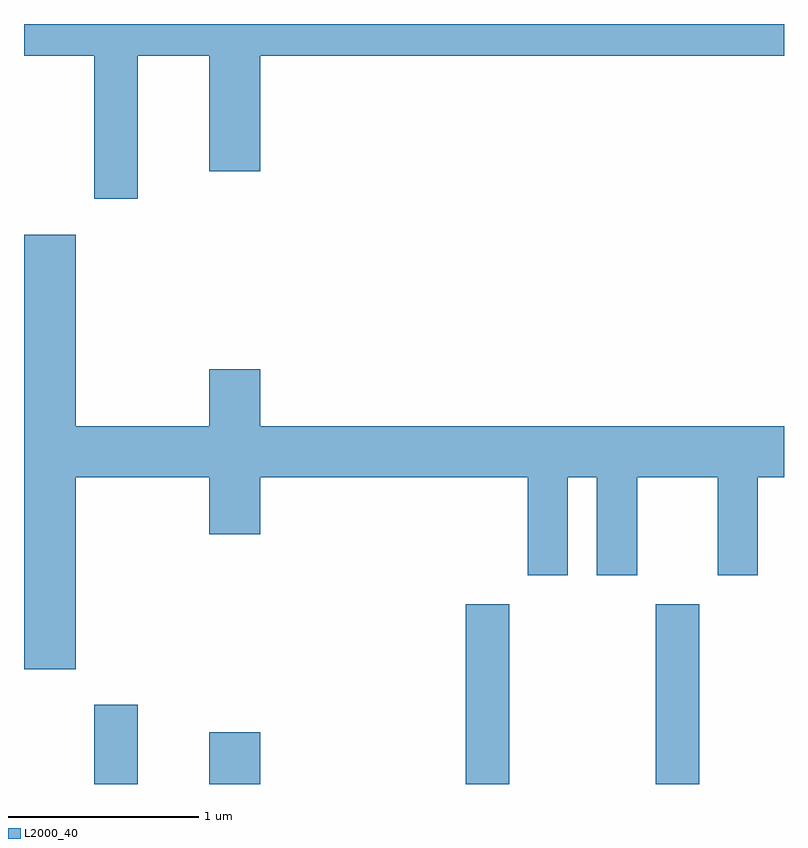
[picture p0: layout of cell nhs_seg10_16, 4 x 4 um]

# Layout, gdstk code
import gdstk
lib = gdstk.Library(unit=1e-6, precision=1e-09)
def R(c, l, rs):  # rectangles x0, y0, x1, y1
    for r in rs: c.add(gdstk.rectangle(r[:2], r[2:], *l))
def P(c, l, *ps):  # polygons
    for p in ps: c.add(gdstk.Polygon(p, *l))
L2000_40 = (2000, 40)

nhs_seg10_16 = lib.new_cell('nhs_seg10_16')
R(nhs_seg10_16, L2000_40, [(185.981,2114.522,186.209,2114.939), (186.586,2114.522,186.854,2114.794), (187.936,2114.522,188.164,2115.469), (188.936,2114.522,189.164,2115.469)])
P(nhs_seg10_16, L2000_40, [(186.209,2118.356),(186.586,2118.356),(186.586,2117.746),(186.854,2117.746),(186.854,2118.356),(189.611,2118.356),(189.611,2118.522),(185.611,2118.522),(185.611,2118.356),(185.981,2118.356),(185.981,2117.601),(186.209,2117.601)],
  [(185.884,2116.136),(186.586,2116.136),(186.586,2115.836),(186.854,2115.836),(186.854,2116.136),(188.261,2116.136),(188.261,2115.621),(188.474,2115.621),(188.474,2116.136),(188.626,2116.136),(188.626,2115.621),(188.839,2115.621),(188.839,2116.136),(189.261,2116.136),(189.261,2115.621),(189.474,2115.621),(189.474,2116.136),(189.611,2116.136),(189.611,2116.404),(186.854,2116.404),(186.854,2116.704),(186.586,2116.704),(186.586,2116.404),(185.884,2116.404),(185.884,2117.414),(185.611,2117.414),(185.611,2115.126),(185.884,2115.126)])

lib.write_gds('nhs_seg10_16.gds')
